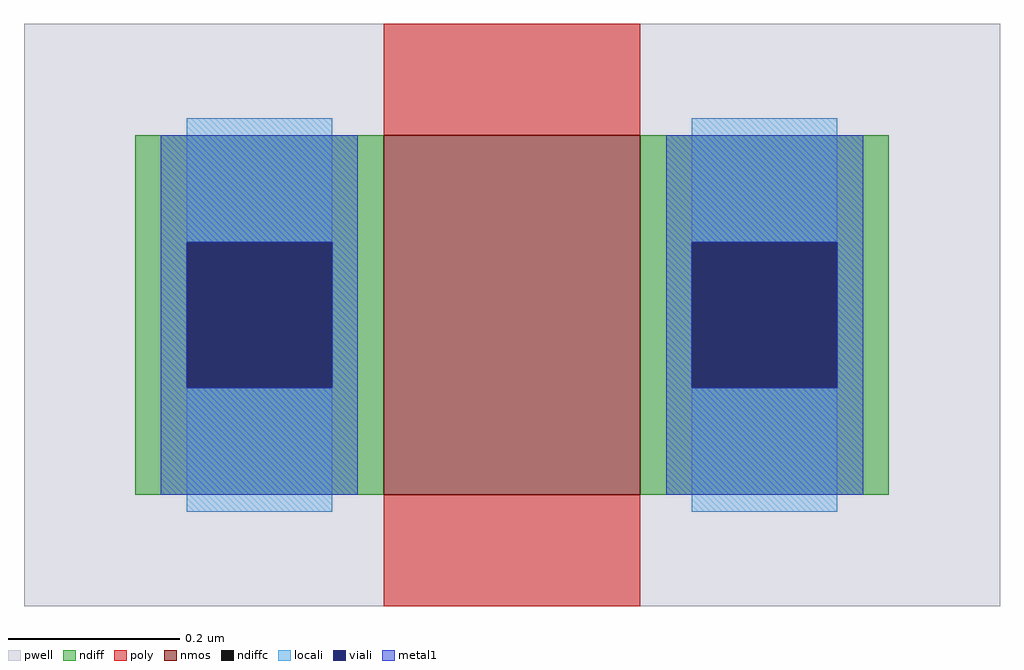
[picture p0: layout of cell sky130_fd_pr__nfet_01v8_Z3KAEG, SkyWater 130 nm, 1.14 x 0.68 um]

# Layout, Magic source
magic
tech sky130A
magscale 1 2
<< pwell >>
rect -114 -68 114 68
<< nmos >>
rect -30 -42 30 42
<< ndiff >>
rect -88 17 -30 42
rect -88 -17 -76 17
rect -42 -17 -30 17
rect -88 -42 -30 -17
rect 30 17 88 42
rect 30 -17 42 17
rect 76 -17 88 17
rect 30 -42 88 -17
<< ndiffc >>
rect -76 -17 -42 17
rect 42 -17 76 17
<< poly >>
rect -30 42 30 68
rect -30 -68 30 -42
<< locali >>
rect -76 17 -42 46
rect -76 -46 -42 -17
rect 42 17 76 46
rect 42 -46 76 -17
<< viali >>
rect -76 -17 -42 17
rect 42 -17 76 17
<< metal1 >>
rect -82 17 -36 42
rect -82 -17 -76 17
rect -42 -17 -36 17
rect -82 -42 -36 -17
rect 36 17 82 42
rect 36 -17 42 17
rect 76 -17 82 17
rect 36 -42 82 -17
<< end >>
